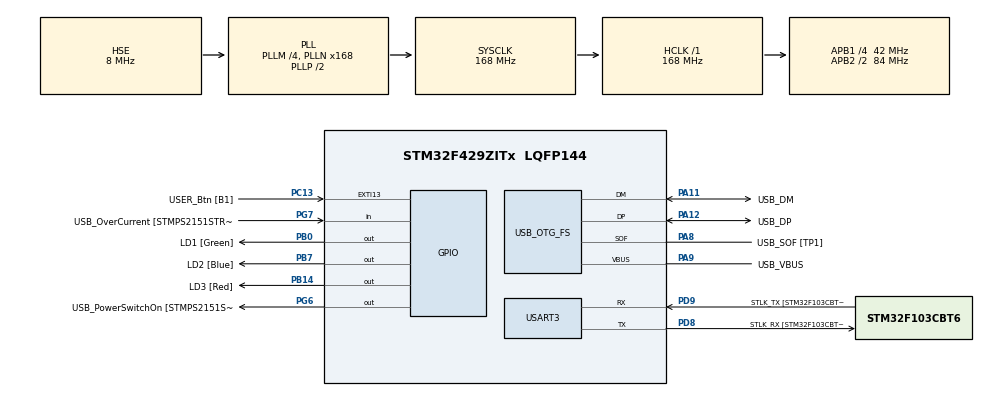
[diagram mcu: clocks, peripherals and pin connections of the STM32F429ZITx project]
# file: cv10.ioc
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Mcu.Family=STM32F4
Mcu.Name=STM32F429ZITx
Mcu.Package=LQFP144
NVIC.OTG_FS_IRQn=true\:0\:0\:false\:false\:true\:false\:true
NVIC.PriorityGroup=NVIC_PRIORITYGROUP_4
PA1.GPIO_Label=RMII_REF_CLK [LAN8742A-CZ-TR_REFCLK0]
PA1.Signal=ETH_REF_CLK
PA10.GPIO_Label=USB_ID
PA10.Signal=USB_OTG_FS_ID
PA11.GPIO_Label=USB_DM
PA11.Mode=Device_Only
PA11.Signal=USB_OTG_FS_DM
PA12.GPIO_Label=USB_DP
PA12.Mode=Device_Only
PA12.Signal=USB_OTG_FS_DP
PA13.GPIO_Label=TMS
PA13.Mode=Serial_Wire
PA13.Signal=SYS_JTMS-SWDIO
PA14.GPIO_Label=TCK
PA14.Mode=Serial_Wire
PA14.Signal=SYS_JTCK-SWCLK
PA2.GPIO_Label=RMII_MDIO [LAN8742A-CZ-TR_MDIO]
PA2.Signal=ETH_MDIO
PA7.GPIO_Label=RMII_CRS_DV [LAN8742A-CZ-TR_CRS_DV]
PA7.Signal=ETH_CRS_DV
PA8.GPIO_Label=USB_SOF [TP1]
PA8.Mode=Activate_SOF_FS
PA8.Signal=USB_OTG_FS_SOF
PA9.GPIO_Label=USB_VBUS
PA9.Mode=Activate_VBUS
PA9.Signal=USB_OTG_FS_VBUS
PB0.GPIO_Label=LD1 [Green]
PB0.Signal=GPIO_Output
PB13.GPIO_Label=RMII_TXD1 [LAN8742A-CZ-TR_TXD1]
PB13.Signal=ETH_TXD1
PB14.GPIO_Label=LD3 [Red]
PB14.Signal=GPIO_Output
PB7.GPIO_Label=LD2 [Blue]
PB7.Signal=GPIO_Output
PC1.GPIO_Label=RMII_MDC [LAN8742A-CZ-TR_MDC]
PC1.Signal=ETH_MDC
PC13.GPIO_Label=USER_Btn [B1]
PC13.Signal=GPXTI13
PC14/OSC32_IN.Mode=LSE-External-Oscillator
PC14/OSC32_IN.Signal=RCC_OSC32_IN
PC15/OSC32_OUT.Mode=LSE-External-Oscillator
PC15/OSC32_OUT.Signal=RCC_OSC32_OUT
PC4.GPIO_Label=RMII_RXD0 [LAN8742A-CZ-TR_RXD0]
PC4.Signal=ETH_RXD0
PC5.GPIO_Label=RMII_RXD1 [LAN8742A-CZ-TR_RXD1]
PC5.Signal=ETH_RXD1
PD8.GPIO_Label=STLK_RX [STM32F103CBT6_PA3]
PD8.Mode=Asynchronous
PD8.Signal=USART3_TX
PD9.GPIO_Label=STLK_TX [STM32F103CBT6_PA2]
PD9.Mode=Asynchronous
PD9.Signal=USART3_RX
PG11.GPIO_Label=RMII_TX_EN [LAN8742A-CZ-TR_TXEN]
PG11.Signal=ETH_TX_EN
PG13.GPIO_Label=RMII_TXD0 [LAN8742A-CZ-TR_TXD0]
PG13.Signal=ETH_TXD0
PG6.GPIO_Label=USB_PowerSwitchOn [STMPS2151STR_EN]
PG6.Signal=GPIO_Output
PG7.GPIO_Label=USB_OverCurrent [STMPS2151STR_FAULT]
PG7.Signal=GPIO_Input
PH0/OSC_IN.GPIO_Label=MCO [STM32F103CBT6_PA8]
PH0/OSC_IN.Mode=HSE-External-Clock-Source
PH0/OSC_IN.Signal=RCC_OSC_IN
PH1/OSC_OUT.Mode=HSE-External-Clock-Source
PH1/OSC_OUT.Signal=RCC_OSC_OUT
ProjectManager.HeapSize=0x200
ProjectManager.StackSize=0x400
ProjectManager.TargetToolchain=STM32CubeIDE
RCC.48MHZClocksFreq_Value=48000000
RCC.AHBFreq_Value=168000000
RCC.APB1CLKDivider=RCC_HCLK_DIV4
RCC.APB1Freq_Value=42000000
RCC.APB1TimFreq_Value=84000000
RCC.APB2CLKDivider=RCC_HCLK_DIV2
RCC.APB2Freq_Value=84000000
RCC.APB2TimCLKDivider=2
RCC.APB2TimFreq_Value=168000000
RCC.CortexFreq_Value=168000000
RCC.HCLKFreq_Value=168000000
RCC.HSE_VALUE=8000000
RCC.HSI_VALUE=16000000
RCC.PLLM=4
RCC.PLLMUL=RCC_PLL_MUL9
RCC.PLLN=168
RCC.PLLQ=7
RCC.PRESCALERUSB=RCC_USBCLKSOURCE_PLL_DIV1_5
RCC.SYSCLKFreq_VALUE=168000000
RCC.SYSCLKSource=RCC_SYSCLKSOURCE_PLLCLK
RCC.SYSCLKSourceVirtual=RCC_SYSCLKSOURCE_PLLCLK
RCC.USBFreq_Value=48000000
RCC.VCOOutputFreq_Value=336000000
USART3.VirtualMode=VM_ASYNC
USB_DEVICE.CLASS_NAME_FS=HID
USB_DEVICE.VirtualMode-HID_FS=Hid
USB_DEVICE.VirtualModeFS=Hid_FS
USB_OTG_FS.VirtualMode=Device_Only
VP_USB_DEVICE_VS_USB_DEVICE_HID_FS.Mode=HID_FS
board=NUCLEO-F429ZI

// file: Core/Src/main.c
/* USER CODE BEGIN Header */
/**
  ******************************************************************************
  * @file           : main.c
  * @brief          : Main program body
  ******************************************************************************
  * @attention
  *
  * <h2><center>&copy; Copyright (c) 2021 STMicroelectronics.
  * All rights reserved.</center></h2>
  *
  * This software component is licensed by ST under BSD 3-Clause license,
  * the "License"; You may not use this file except in compliance with the
  * License. You may obtain a copy of the License at:
  *                        opensource.org/licenses/BSD-3-Clause
  *
  ******************************************************************************
  */
/* USER CODE END Header */
#include "main.h"
#include "usb_device.h"

/* USER CODE BEGIN Includes */
#include <usbd_hid.h>
#include <stdio.h>
#include <math.h>
#include <stdbool.h>
/* USER CODE END Includes */

UART_HandleTypeDef huart3;

/* USER CODE BEGIN PV */
extern USBD_HandleTypeDef hUsbDeviceFS;
/* USER CODE END PV */

void SystemClock_Config(void);
static void MX_GPIO_Init(void);
static void MX_USART3_UART_Init(void);

/* USER CODE BEGIN 0 */
void step (int8_t x, int8_t y, bool btn)
{
	uint8_t buff[4];

	if(btn == 1){
		buff[0] = 0x01; // stiskni leve tlacitko
	}else{
		buff[0] = 0x00; // nestiskni leve tlacitko
	}

	buff[1] = x; // posun X
	buff[2] = y; // posun Y
	buff[3] = 0; // bez scrollu
	USBD_HID_SendReport(&hUsbDeviceFS, buff, sizeof(buff));
	HAL_Delay(USBD_HID_GetPollingInterval(&hUsbDeviceFS));

}

void circle (uint8_t polomer, uint16_t start_uhel, uint16_t stop_uhel)
{
	float x = 0;
	float y = 0;

	int32_t sx = 0;
	int32_t sy = 0;

	int32_t dx = 0;
	int32_t dy = 0;

	uint16_t uhel = 0;

	for(uhel = start_uhel; uhel<= stop_uhel; uhel = uhel+5){

		x = polomer*cos(M_PI*uhel/180);
		y = polomer*sin(M_PI*uhel/180);

		dx = sx - x; // vypocet diference
		dy = sy - y;

		step(dx,dy,1);

		sx = sx - dx;
		sy = sy - dy;
	}

	step(0,0,0);

}
/* USER CODE END 0 */

int main(void)
{

  /* MCU Configuration--------------------------------------------------------*/

  /* Reset of all peripherals, Initializes the Flash interface and the Systick. */
  HAL_Init();

  /* Configure the system clock */
  SystemClock_Config();

  /* Initialize all configured peripherals */
  MX_GPIO_Init();
  MX_USART3_UART_Init();
  MX_USB_DEVICE_Init();

  /* Infinite loop */
  /* USER CODE BEGIN WHILE */
  while (1)
  {
	  if (HAL_GPIO_ReadPin(USER_Btn_GPIO_Port, USER_Btn_Pin) == 1){
		  step(5,5,0); // Prvotni posun
		  circle(100,0,360);
		  step(52,-10,0);
		  circle(30,0,360);
		  step(90,0,0);
		  circle(30,0,360);
		  step(-18,0,1);
		  step(0,30,0);
		  step(-35,0,0);
		  circle(50,180,360);
  }
    /* USER CODE END WHILE */

  }
}

void SystemClock_Config(void)
{
  RCC_OscInitTypeDef RCC_OscInitStruct = {0};
  RCC_ClkInitTypeDef RCC_ClkInitStruct = {0};

  /** Configure the main internal regulator output voltage
  */
  __HAL_RCC_PWR_CLK_ENABLE();
  __HAL_PWR_VOLTAGESCALING_CONFIG(PWR_REGULATOR_VOLTAGE_SCALE1);
  /** Initializes the RCC Oscillators according to the specified parameters
  * in the RCC_OscInitTypeDef structure.
  */
  RCC_OscInitStruct.OscillatorType = RCC_OSCILLATORTYPE_HSE;
  RCC_OscInitStruct.HSEState = RCC_HSE_BYPASS;
  RCC_OscInitStruct.PLL.PLLState = RCC_PLL_ON;
  RCC_OscInitStruct.PLL.PLLSource = RCC_PLLSOURCE_HSE;
  RCC_OscInitStruct.PLL.PLLM = 4;
  RCC_OscInitStruct.PLL.PLLN = 168;
  RCC_OscInitStruct.PLL.PLLP = RCC_PLLP_DIV2;
  RCC_OscInitStruct.PLL.PLLQ = 7;
  if (HAL_RCC_OscConfig(&RCC_OscInitStruct) != HAL_OK)
  {
    Error_Handler();
  }
  /** Initializes the CPU, AHB and APB buses clocks
  */
  RCC_ClkInitStruct.ClockType = RCC_CLOCKTYPE_HCLK|RCC_CLOCKTYPE_SYSCLK
                              |RCC_CLOCKTYPE_PCLK1|RCC_CLOCKTYPE_PCLK2;
  RCC_ClkInitStruct.SYSCLKSource = RCC_SYSCLKSOURCE_PLLCLK;
  RCC_ClkInitStruct.AHBCLKDivider = RCC_SYSCLK_DIV1;
  RCC_ClkInitStruct.APB1CLKDivider = RCC_HCLK_DIV4;
  RCC_ClkInitStruct.APB2CLKDivider = RCC_HCLK_DIV2;

  if (HAL_RCC_ClockConfig(&RCC_ClkInitStruct, FLASH_LATENCY_5) != HAL_OK)
  {
    Error_Handler();
  }
}

static void MX_USART3_UART_Init(void)
{

  huart3.Instance = USART3;
  huart3.Init.BaudRate = 115200;
  huart3.Init.WordLength = UART_WORDLENGTH_8B;
  huart3.Init.StopBits = UART_STOPBITS_1;
  huart3.Init.Parity = UART_PARITY_NONE;
  huart3.Init.Mode = UART_MODE_TX_RX;
  huart3.Init.HwFlowCtl = UART_HWCONTROL_NONE;
  huart3.Init.OverSampling = UART_OVERSAMPLING_16;
  if (HAL_UART_Init(&huart3) != HAL_OK)
  {
    Error_Handler();
  }

}

static void MX_GPIO_Init(void)
{
  GPIO_InitTypeDef GPIO_InitStruct = {0};

  /* GPIO Ports Clock Enable */
  __HAL_RCC_GPIOC_CLK_ENABLE();
  __HAL_RCC_GPIOH_CLK_ENABLE();
  __HAL_RCC_GPIOA_CLK_ENABLE();
  __HAL_RCC_GPIOB_CLK_ENABLE();
  __HAL_RCC_GPIOD_CLK_ENABLE();
  __HAL_RCC_GPIOG_CLK_ENABLE();

  /*Configure GPIO pin Output Level */
  HAL_GPIO_WritePin(GPIOB, LD1_Pin|LD3_Pin|LD2_Pin, GPIO_PIN_RESET);

  /*Configure GPIO pin Output Level */
  HAL_GPIO_WritePin(USB_PowerSwitchOn_GPIO_Port, USB_PowerSwitchOn_Pin, GPIO_PIN_RESET);

  /*Configure GPIO pin : USER_Btn_Pin */
  GPIO_InitStruct.Pin = USER_Btn_Pin;
  GPIO_InitStruct.Mode = GPIO_MODE_IT_RISING;
  GPIO_InitStruct.Pull = GPIO_NOPULL;
  HAL_GPIO_Init(USER_Btn_GPIO_Port, &GPIO_InitStruct);

  /*Configure GPIO pins : RMII_MDC_Pin RMII_RXD0_Pin RMII_RXD1_Pin */
  GPIO_InitStruct.Pin = RMII_MDC_Pin|RMII_RXD0_Pin|RMII_RXD1_Pin;
  GPIO_InitStruct.Mode = GPIO_MODE_AF_PP;
  GPIO_InitStruct.Pull = GPIO_NOPULL;
  GPIO_InitStruct.Speed = GPIO_SPEED_FREQ_VERY_HIGH;
  GPIO_InitStruct.Alternate = GPIO_AF11_ETH;
  HAL_GPIO_Init(GPIOC, &GPIO_InitStruct);

  /*Configure GPIO pins : RMII_REF_CLK_Pin RMII_MDIO_Pin RMII_CRS_DV_Pin */
  GPIO_InitStruct.Pin = RMII_REF_CLK_Pin|RMII_MDIO_Pin|RMII_CRS_DV_Pin;
  GPIO_InitStruct.Mode = GPIO_MODE_AF_PP;
  GPIO_InitStruct.Pull = GPIO_NOPULL;
  GPIO_InitStruct.Speed = GPIO_SPEED_FREQ_VERY_HIGH;
  GPIO_InitStruct.Alternate = GPIO_AF11_ETH;
  HAL_GPIO_Init(GPIOA, &GPIO_InitStruct);

  /*Configure GPIO pins : LD1_Pin LD3_Pin LD2_Pin */
  GPIO_InitStruct.Pin = LD1_Pin|LD3_Pin|LD2_Pin;
  GPIO_InitStruct.Mode = GPIO_MODE_OUTPUT_PP;
  GPIO_InitStruct.Pull = GPIO_NOPULL;
  GPIO_InitStruct.Speed = GPIO_SPEED_FREQ_LOW;
  HAL_GPIO_Init(GPIOB, &GPIO_InitStruct);

  /*Configure GPIO pin : RMII_TXD1_Pin */
  GPIO_InitStruct.Pin = RMII_TXD1_Pin;
  GPIO_InitStruct.Mode = GPIO_MODE_AF_PP;
  GPIO_InitStruct.Pull = GPIO_NOPULL;
  GPIO_InitStruct.Speed = GPIO_SPEED_FREQ_VERY_HIGH;
  GPIO_InitStruct.Alternate = GPIO_AF11_ETH;
  HAL_GPIO_Init(RMII_TXD1_GPIO_Port, &GPIO_InitStruct);

  /*Configure GPIO pin : USB_PowerSwitchOn_Pin */
  GPIO_InitStruct.Pin = USB_PowerSwitchOn_Pin;
  GPIO_InitStruct.Mode = GPIO_MODE_OUTPUT_PP;
  GPIO_InitStruct.Pull = GPIO_NOPULL;
  GPIO_InitStruct.Speed = GPIO_SPEED_FREQ_LOW;
  HAL_GPIO_Init(USB_PowerSwitchOn_GPIO_Port, &GPIO_InitStruct);

  /*Configure GPIO pin : USB_OverCurrent_Pin */
  GPIO_InitStruct.Pin = USB_OverCurrent_Pin;
  GPIO_InitStruct.Mode = GPIO_MODE_INPUT;
  GPIO_InitStruct.Pull = GPIO_NOPULL;
  HAL_GPIO_Init(USB_OverCurrent_GPIO_Port, &GPIO_InitStruct);

  /*Configure GPIO pins : RMII_TX_EN_Pin RMII_TXD0_Pin */
  GPIO_InitStruct.Pin = RMII_TX_EN_Pin|RMII_TXD0_Pin;
  GPIO_InitStruct.Mode = GPIO_MODE_AF_PP;
  GPIO_InitStruct.Pull = GPIO_NOPULL;
  GPIO_InitStruct.Speed = GPIO_SPEED_FREQ_VERY_HIGH;
  GPIO_InitStruct.Alternate = GPIO_AF11_ETH;
  HAL_GPIO_Init(GPIOG, &GPIO_InitStruct);

}

void Error_Handler(void)
{
  __disable_irq();
  while (1)
  {
  }
}

/************************ (C) COPYRIGHT STMicroelectronics *****END OF FILE****/
